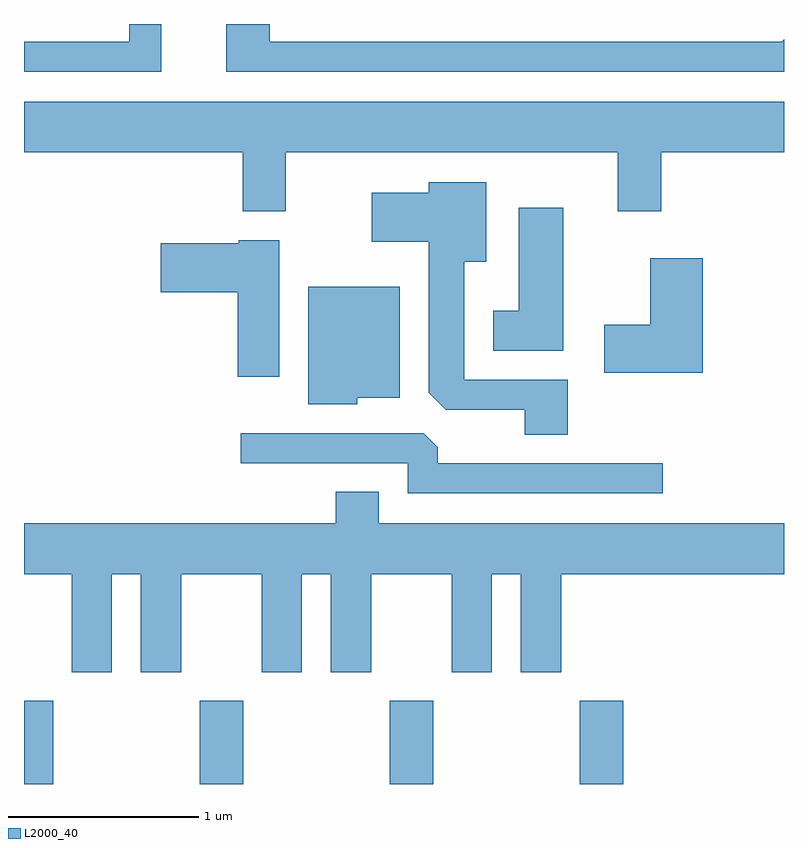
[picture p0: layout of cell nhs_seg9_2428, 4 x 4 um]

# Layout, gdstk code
import gdstk
lib = gdstk.Library(unit=1e-6, precision=1e-09)
def R(c, l, rs):  # rectangles x0, y0, x1, y1
    for r in rs: c.add(gdstk.rectangle(r[:2], r[2:], *l))
def A(c, l, x, y, w, h, nx, ny, dx, dy):  # array of equal rectangles
    R(c, l, [(x+i*dx, y+j*dy, x+i*dx+w, y+j*dy+h) for i in range(nx) for j in range(ny)])
def P(c, l, *ps):  # polygons
    for p in ps: c.add(gdstk.Polygon(p, *l))
L2000_40 = (2000, 40)

nhs_seg9_2428 = lib.new_cell('nhs_seg9_2428')
A(nhs_seg9_2428, L2000_40, 256.536, 2048.432, 0.228, 0.437, 3, 1, 1, 0)
R(nhs_seg9_2428, L2000_40, [(255.611,2048.432,255.764,2048.869)])
P(nhs_seg9_2428, L2000_40, [(256.334,2052.432),(256.166,2052.432),(256.166,2052.339),(255.611,2052.339),(255.611,2052.181),(256.334,2052.181)],
  [(259.611,2052.351),(259.599,2052.339),(256.904,2052.339),(256.904,2052.432),(256.676,2052.432),(256.676,2052.181),(259.611,2052.181)],
  [(256.989,2051.756),(258.736,2051.756),(258.736,2051.446),(258.964,2051.446),(258.964,2051.756),(259.611,2051.756),(259.611,2052.024),(255.611,2052.024),(255.611,2051.756),(256.761,2051.756),(256.761,2051.446),(256.989,2051.446)],
  [(258.474,2050.559),(257.929,2050.559),(257.929,2051.181),(258.044,2051.181),(258.044,2051.599),(257.741,2051.599),(257.741,2051.544),(257.441,2051.544),(257.441,2051.286),(257.741,2051.286),(257.741,2050.492),(257.832,2050.401),(258.246,2050.401),(258.246,2050.271),(258.474,2050.271)],
  [(258.449,2051.464),(258.216,2051.464),(258.216,2050.924),(258.081,2050.924),(258.081,2050.711),(258.449,2050.711)],
  [(256.954,2051.294),(256.74,2051.294),(256.74,2051.279),(256.331,2051.279),(256.331,2051.021),(256.736,2051.021),(256.736,2050.576),(256.954,2050.576)],
  [(259.184,2051.199),(258.906,2051.199),(258.906,2050.849),(258.666,2050.849),(258.666,2050.596),(259.184,2050.596)],
  [(257.364,2050.466),(257.589,2050.466),(257.589,2051.049),(257.106,2051.049),(257.106,2050.431),(257.364,2050.431)],
  [(258.973,2050.119),(257.789,2050.119),(257.789,2050.204),(257.714,2050.279),(256.753,2050.279),(256.753,2050.121),(257.631,2050.121),(257.631,2049.961),(258.973,2049.961)],
  [(256.074,2049.536),(256.226,2049.536),(256.226,2049.021),(256.439,2049.021),(256.439,2049.536),(256.861,2049.536),(256.861,2049.021),(257.074,2049.021),(257.074,2049.536),(257.226,2049.536),(257.226,2049.021),(257.439,2049.021),(257.439,2049.536),(257.861,2049.536),(257.861,2049.021),(258.074,2049.021),(258.074,2049.536),(258.226,2049.536),(258.226,2049.021),(258.439,2049.021),(258.439,2049.536),(259.611,2049.536),(259.611,2049.804),(257.479,2049.804),(257.479,2049.969),(257.251,2049.969),(257.251,2049.804),(255.611,2049.804),(255.611,2049.536),(255.861,2049.536),(255.861,2049.021),(256.074,2049.021)])

lib.write_gds('nhs_seg9_2428.gds')
